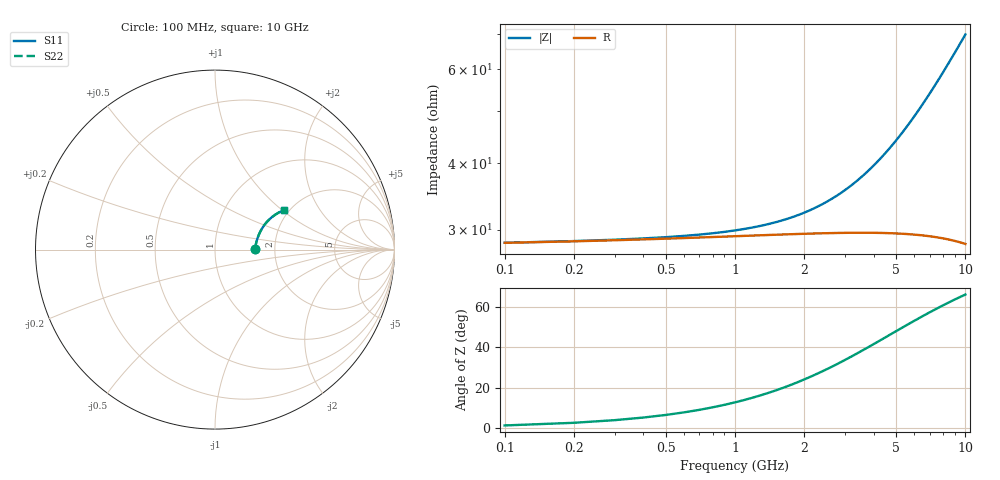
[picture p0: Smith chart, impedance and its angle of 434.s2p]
# Hz S RI R 50.00
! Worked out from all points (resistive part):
!   100 points, 100 MHz to 10 GHz, reference 50 ohm
!   read as one part in series: R = 28.4 ohm at 100 MHz
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1e8  0.221 0.00312  0.779 -0.00482  0.779 -0.00482  0.221 0.00312
2e8  0.2221 0.00622  0.7778 -0.00961  0.7778 -0.00961  0.2221 0.00622
4e8  0.2238 0.0124  0.7761 -0.0192  0.7761 -0.0192  0.2238 0.0124
8e8  0.2266 0.0245  0.7733 -0.0381  0.7733 -0.0381  0.2266 0.0245
1.1e9  0.2287 0.0336  0.7711 -0.0523  0.7711 -0.0523  0.2287 0.0336
1.4e9  0.2309 0.0425  0.7688 -0.0663  0.7688 -0.0663  0.2309 0.0425
1.8e9  0.2342 0.0543  0.7653 -0.0849  0.7653 -0.0849  0.2342 0.0543
2.1e9  0.2369 0.063  0.7624 -0.0987  0.7624 -0.0987  0.2369 0.063
2.5e9  0.241 0.0744  0.758 -0.1169  0.758 -0.1169  0.241 0.0744
2.9e9  0.2455 0.0856  0.7531 -0.1349  0.7531 -0.1349  0.2455 0.0856
3.4e9  0.2518 0.0991  0.7463 -0.157  0.7463 -0.157  0.2518 0.0991
3.8e9  0.2574 0.1096  0.7403 -0.1743  0.7403 -0.1743  0.2574 0.1096
4.2e9  0.2634 0.1198  0.7337 -0.1913  0.7337 -0.1913  0.2634 0.1198
4.6e9  0.2698 0.1296  0.7267 -0.208  0.7267 -0.208  0.2698 0.1296
5.1e9  0.2785 0.1414  0.7173 -0.2283  0.7173 -0.2283  0.2785 0.1414
5.9e9  0.2935 0.1589  0.7008 -0.2595  0.7008 -0.2595  0.2935 0.1589
6.7e9  0.3099 0.1747  0.6827 -0.2891  0.6827 -0.2891  0.3099 0.1747
7.2e9  0.3207 0.1837  0.6708 -0.3067  0.6708 -0.3067  0.3207 0.1837
7.6e9  0.3297 0.1903  0.6609 -0.3202  0.6609 -0.3202  0.3297 0.1903
8.4e9  0.3482 0.2022  0.6402 -0.346  0.6402 -0.346  0.3482 0.2022
9.2e9  0.3673 0.2122  0.6187 -0.3699  0.6187 -0.3699  0.3673 0.2122
1e10  0.387 0.2203  0.5965 -0.392  0.5965 -0.392  0.387 0.2203
